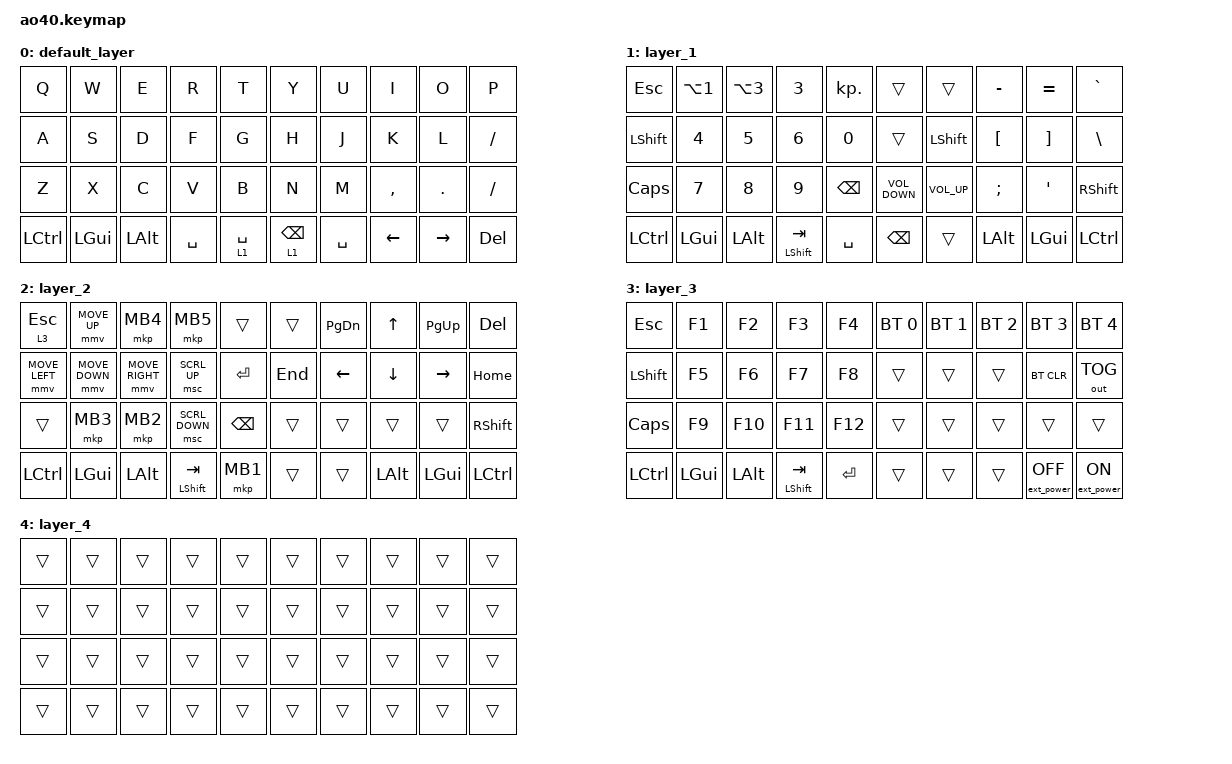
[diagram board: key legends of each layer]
#define ZMK_POINTING_DEFAULT_MOVE_VAL 2500  // default: 600
#define ZMK_POINTING_DEFAULT_SCRL_VAL 40    // default: 10

#include <behaviors.dtsi>
#include <dt-bindings/zmk/bt.h>
#include <dt-bindings/zmk/ext_power.h>
#include <dt-bindings/zmk/keys.h>
#include <dt-bindings/zmk/outputs.h>
#include <dt-bindings/zmk/pointing.h>

/ {
    behaviors {
        taptap: taptap {
            compatible = "zmk,behavior-hold-tap";
            label = "TAPTAP";
            bindings = <&kp>, <&kp>;

            #binding-cells = <2>;
            tapping-term-ms = <200>;
            quick-tap-ms = <180>;
            require-prior-idle-ms = <150>;
            flavor = "tap-preferred";
        };

        holdhold: holdhold {
            compatible = "zmk,behavior-hold-tap";
            label = "HOLDHOLD";
            bindings = <&mo>, <&kp>;

            #binding-cells = <2>;
            flavor = "tap-unless-interrupted";
            require-prior-idle-ms = <150>;
            tapping-term-ms = <200>;
            retro-tap;
            quick-tap-ms = <180>;
        };

        momotap: momotap {
            compatible = "zmk,behavior-hold-tap";
            label = "MOMOTAP";
            bindings = <&mo>, <&kp>;

            #binding-cells = <2>;
            tapping-term-ms = <200>;
            quick-tap-ms = <180>;
            require-prior-idle-ms = <150>;
            flavor = "tap-preferred";
        };
    };

    combos {
        compatible = "zmk,combos";

        tog2 {
            bindings = <&tog 2>;
            key-positions = <13 12>;
            timeout-ms = <50>;
        };

        r-tog2 {
            bindings = <&tog 2>;
            key-positions = <16 17>;
            timeout-ms = <50>;
        };
    };

    keymap {
        compatible = "zmk,keymap";

        default_layer {
            bindings = <
&kp Q      &kp W     &kp E         &kp R      &kp T        &kp Y                  &kp U      &kp I      &kp O      &kp P
&kp A      &kp S     &kp D         &kp F      &kp G        &kp H                  &kp J      &kp K      &kp L      &kp FSLH
&kp Z      &kp X     &kp C         &kp V      &kp B        &kp N                  &kp M      &kp COMMA  &kp DOT    &kp FSLH
&kp LCTRL  &kp LGUI  &kp LEFT_ALT  &kp SPACE  &lt 1 SPACE  &holdhold 1 BACKSPACE  &kp SPACE  &kp LEFT   &kp RIGHT  &kp DEL
            >;
        };

        layer_1 {
            bindings = <
&kp ESC    &kp LA(N1)    &kp LA(NUMBER_3)  &kp NUMBER_3        &kp KP_DOT     &trans             &trans           &kp MINUS  &kp EQUAL  &kp GRAVE
&kp LSHFT  &kp NUMBER_4  &kp NUMBER_5      &kp NUMBER_6        &kp NUMBER_0   &trans             &kp LSHFT        &kp LBKT   &kp RBKT   &kp BSLH
&kp CAPS   &kp N7        &kp NUMBER_8      &kp NUMBER_9        &kp BACKSPACE  &kp C_VOLUME_DOWN  &kp C_VOLUME_UP  &kp SEMI   &kp APOS   &kp RSHFT
&kp LCTRL  &kp LGUI      &kp LALT          &taptap LSHIFT TAB  &kp SPACE      &kp BACKSPACE      &trans           &kp LALT   &kp LGUI   &kp LCTRL
            >;
        };

        layer_2 {
            bindings = <
&momotap 3 ESC  &mmv MOVE_UP    &mkp MB4         &mkp MB5            &trans         &trans   &kp PG_DN  &kp UP    &kp PG_UP  &kp DEL
&mmv MOVE_LEFT  &mmv MOVE_DOWN  &mmv MOVE_RIGHT  &msc SCRL_UP        &kp ENTER      &kp END  &kp LEFT   &kp DOWN  &kp RIGHT  &kp HOME
&trans          &mkp MB3        &mkp MB2         &msc SCRL_DOWN      &kp BACKSPACE  &trans   &trans     &trans    &trans     &kp RSHFT
&kp LCTRL       &kp LGUI        &kp LALT         &taptap LSHIFT TAB  &mkp MB1       &trans   &trans     &kp LALT  &kp LGUI   &kp LCTRL
            >;
        };

        layer_3 {
            bindings = <
&kp ESC    &kp F1    &kp F2    &kp F3              &kp F4     &bt BT_SEL 0  &bt BT_SEL 1  &bt BT_SEL 2  &bt BT_SEL 3       &bt BT_SEL 4
&kp LSHFT  &kp F5    &kp F6    &kp F7              &kp F8     &trans        &trans        &trans        &bt BT_CLR         &out OUT_TOG
&kp CAPS   &kp F9    &kp F10   &kp F11             &kp F12    &trans        &trans        &trans        &trans             &trans
&kp LCTRL  &kp LGUI  &kp LALT  &taptap LSHIFT TAB  &kp ENTER  &trans        &trans        &trans        &ext_power EP_OFF  &ext_power EP_ON
            >;
        };

        layer_4 {
            bindings = <
&trans  &trans  &trans  &trans  &trans  &trans  &trans  &trans  &trans  &trans
&trans  &trans  &trans  &trans  &trans  &trans  &trans  &trans  &trans  &trans
&trans  &trans  &trans  &trans  &trans  &trans  &trans  &trans  &trans  &trans
&trans  &trans  &trans  &trans  &trans  &trans  &trans  &trans  &trans  &trans
            >;
        };
    };
};
